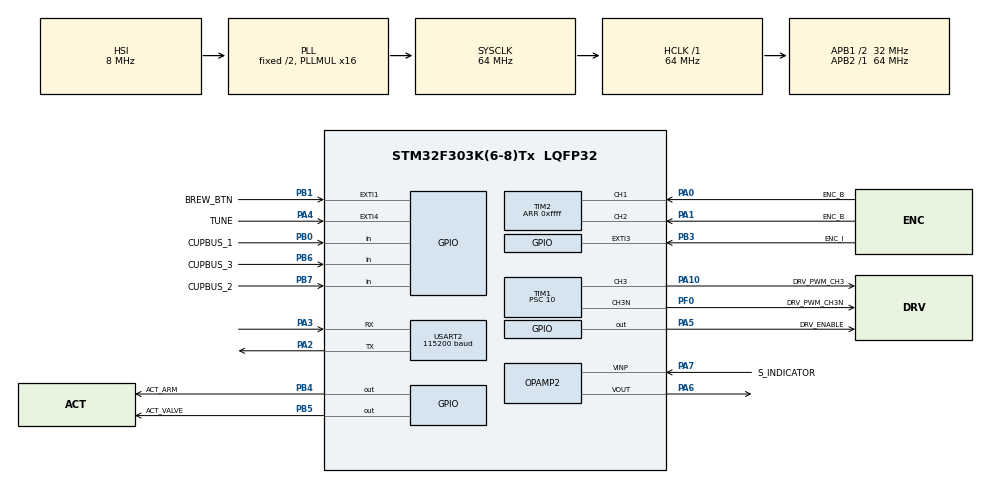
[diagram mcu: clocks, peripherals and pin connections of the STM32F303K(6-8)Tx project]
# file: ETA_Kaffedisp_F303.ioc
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ADC2.Channel-25\#ChannelRegularConversion=ADC_CHANNEL_3
ADC2.NbrOfConversionFlag=1
ADC2.Offset-25\#ChannelRegularConversion=0
ADC2.OffsetNumber-25\#ChannelRegularConversion=ADC_OFFSET_NONE
ADC2.Rank-25\#ChannelRegularConversion=1
ADC2.SamplingTime-25\#ChannelRegularConversion=ADC_SAMPLETIME_1CYCLE_5
ADC2.SubFamily=STM32F303x8
Dma.Request0=USART2_TX
Dma.Request1=USART2_RX
Dma.USART2_RX.1.Direction=DMA_PERIPH_TO_MEMORY
Dma.USART2_RX.1.Instance=DMA1_Channel6
Dma.USART2_RX.1.MemDataAlignment=DMA_MDATAALIGN_BYTE
Dma.USART2_RX.1.MemInc=DMA_MINC_ENABLE
Dma.USART2_RX.1.Mode=DMA_NORMAL
Dma.USART2_RX.1.PeriphDataAlignment=DMA_PDATAALIGN_BYTE
Dma.USART2_RX.1.PeriphInc=DMA_PINC_DISABLE
Dma.USART2_RX.1.Priority=DMA_PRIORITY_LOW
Dma.USART2_TX.0.Direction=DMA_MEMORY_TO_PERIPH
Dma.USART2_TX.0.Instance=DMA1_Channel7
Dma.USART2_TX.0.MemDataAlignment=DMA_MDATAALIGN_BYTE
Dma.USART2_TX.0.MemInc=DMA_MINC_ENABLE
Dma.USART2_TX.0.Mode=DMA_NORMAL
Dma.USART2_TX.0.PeriphDataAlignment=DMA_PDATAALIGN_BYTE
Dma.USART2_TX.0.PeriphInc=DMA_PINC_DISABLE
Dma.USART2_TX.0.Priority=DMA_PRIORITY_LOW
IWDG.Prescaler=IWDG_PRESCALER_128
Mcu.Family=STM32F3
Mcu.Name=STM32F303K(6-8)Tx
Mcu.Package=LQFP32
NVIC.DMA1_Channel6_IRQn=true\:0\:0\:false\:false\:true\:false
NVIC.DMA1_Channel7_IRQn=true\:0\:0\:false\:false\:true\:false
NVIC.EXTI1_IRQn=true\:2\:0\:true\:false\:true\:true
NVIC.EXTI3_IRQn=true\:0\:0\:false\:false\:true\:true
NVIC.EXTI4_IRQn=true\:2\:0\:true\:false\:true\:true
NVIC.PriorityGroup=NVIC_PRIORITYGROUP_4
NVIC.TIM1_TRG_COM_TIM17_IRQn=true\:0\:0\:true\:false\:true\:true
NVIC.TIM2_IRQn=true\:0\:0\:false\:false\:true\:true
NVIC.TIM7_DAC2_IRQn=true\:0\:0\:false\:false\:true\:true
NVIC.USART2_IRQn=true\:0\:0\:false\:false\:true\:true
PA0.GPIO_Label=ENC_B
PA0.GPIO_ModeDefaultPP=GPIO_MODE_AF_PP
PA0.GPIO_PuPd=GPIO_NOPULL
PA0.GPIO_Speed=GPIO_SPEED_FREQ_LOW
PA0.Signal=S_TIM2_CH1_ETR
PA1.GPIO_Label=ENC_B
PA1.GPIO_ModeDefaultPP=GPIO_MODE_AF_PP
PA1.GPIO_PuPd=GPIO_NOPULL
PA1.GPIO_Speed=GPIO_SPEED_FREQ_LOW
PA1.Signal=S_TIM2_CH2
PA10.GPIO_Label=DRV_PWM_CH3
PA10.GPIO_ModeDefaultPP=GPIO_MODE_AF_PP
PA10.GPIO_PuPd=GPIO_NOPULL
PA10.GPIO_Speed=GPIO_SPEED_FREQ_LOW
PA10.Signal=S_TIM1_CH3
PA13.Mode=Serial_Wire
PA13.Signal=SYS_JTMS-SWDIO
PA14.Mode=Serial_Wire
PA14.Signal=SYS_JTCK-SWCLK
PA2.GPIO_ModeDefaultPP=GPIO_MODE_AF_PP
PA2.GPIO_PuPd=GPIO_NOPULL
PA2.GPIO_Speed=GPIO_SPEED_FREQ_HIGH
PA2.Mode=Asynchronous
PA2.Signal=USART2_TX
PA3.GPIO_ModeDefaultPP=GPIO_MODE_AF_PP
PA3.GPIO_PuPd=GPIO_NOPULL
PA3.GPIO_Speed=GPIO_SPEED_FREQ_HIGH
PA3.Mode=Asynchronous
PA3.Signal=USART2_RX
PA4.GPIO_Label=TUNE
PA4.GPIO_PuPd=GPIO_PULLUP
PA4.Signal=GPXTI4
PA5.GPIO_Label=DRV_ENABLE
PA5.GPIO_ModeDefaultOutputPP=GPIO_MODE_OUTPUT_PP
PA5.GPIO_PuPd=GPIO_NOPULL
PA5.GPIO_Speed=GPIO_SPEED_FREQ_LOW
PA5.PinState=GPIO_PIN_RESET
PA5.Signal=GPIO_Output
PA6.Mode=Follower
PA6.Signal=OPAMP2_VOUT
PA7.GPIO_Label=S_INDICATOR
PA7.Mode=Follower
PA7.Signal=OPAMP2_VINP
PB0.GPIO_Label=CUPBUS_1
PB0.GPIO_Mode=GPIO_MODE_INPUT
PB0.GPIO_PuPd=GPIO_PULLDOWN
PB0.Signal=GPIO_Input
PB1.GPIO_Label=BREW_BTN
PB1.GPIO_ModeDefaultEXTI=GPIO_MODE_IT_FALLING
PB1.GPIO_PuPd=GPIO_PULLUP
PB1.Signal=GPXTI1
PB3.GPIO_Label=ENC_I
PB3.Signal=GPXTI3
PB4.GPIO_Label=ACT_ARM
PB4.GPIO_ModeDefaultOutputPP=GPIO_MODE_OUTPUT_PP
PB4.GPIO_PuPd=GPIO_NOPULL
PB4.GPIO_Speed=GPIO_SPEED_FREQ_LOW
PB4.PinState=GPIO_PIN_RESET
PB4.Signal=GPIO_Output
PB5.GPIO_Label=ACT_VALVE
PB5.GPIO_PuPd=GPIO_PULLDOWN
PB5.Signal=GPIO_Output
PB6.GPIO_Label=CUPBUS_3
PB6.GPIO_Mode=GPIO_MODE_INPUT
PB6.GPIO_PuPd=GPIO_PULLDOWN
PB6.Signal=GPIO_Input
PB7.GPIO_Label=CUPBUS_2
PB7.GPIO_Mode=GPIO_MODE_INPUT
PB7.GPIO_PuPd=GPIO_PULLDOWN
PB7.Signal=GPIO_Input
PF0\ /\ OSC_IN.GPIO_Label=DRV_PWM_CH3N
PF0\ /\ OSC_IN.GPIO_ModeDefaultPP=GPIO_MODE_AF_PP
PF0\ /\ OSC_IN.GPIO_PuPd=GPIO_NOPULL
PF0\ /\ OSC_IN.GPIO_Speed=GPIO_SPEED_FREQ_LOW
PF0\ /\ OSC_IN.Mode=PWM Generation3 CH3 CH3N
PF0\ /\ OSC_IN.Signal=TIM1_CH3N
ProjectManager.HeapSize=0x200
ProjectManager.StackSize=0x400
ProjectManager.TargetToolchain=TrueSTUDIO
RCC.ADC12PRES=RCC_ADC12PLLCLK_DIV4
RCC.AHBFreq_Value=64000000
RCC.APB1CLKDivider=RCC_HCLK_DIV2
RCC.APB1Freq_Value=32000000
RCC.APB1TimFreq_Value=64000000
RCC.APB2Freq_Value=64000000
RCC.APB2TimFreq_Value=64000000
RCC.CortexFreq_Value=64000000
RCC.HCLKFreq_Value=64000000
RCC.HSE_VALUE=8000000
RCC.HSI_VALUE=8000000
RCC.PLLMUL=RCC_PLL_MUL16
RCC.SYSCLKFreq_VALUE=64000000
RCC.SYSCLKSourceVirtual=RCC_SYSCLKSOURCE_PLLCLK
SH.S_TIM1_CH3.0=TIM1_CH3,PWM Generation3 CH3 CH3N
SH.S_TIM2_CH1_ETR.0=TIM2_CH1,Encoder_Interface
SH.S_TIM2_CH2.0=TIM2_CH2,Encoder_Interface
TIM1.Channel-PWM\ Generation3\ CH3\ CH3N=TIM_CHANNEL_3
TIM1.DeadTime=0
TIM1.OCNPolarity_3=TIM_OCNPOLARITY_HIGH
TIM1.OCPolarity_3=TIM_OCPOLARITY_HIGH
TIM1.Period=0xff
TIM1.Prescaler=10
TIM1.Pulse-PWM\ Generation3\ CH3\ CH3N=0x7f
TIM17.Channel=TIM_CHANNEL_1
TIM17.ClockDivision=TIM_CLOCKDIVISION_DIV2
TIM17.Period=5000
TIM17.Prescaler=42000
TIM2.CounterMode=TIM_COUNTERMODE_UP
TIM2.EncoderMode=TIM_ENCODERMODE_TI12
TIM2.IC1Filter=4
TIM2.IC1Polarity=TIM_ICPOLARITY_RISING
TIM2.IC2Filter=4
TIM2.IC2Polarity=TIM_ICPOLARITY_FALLING
TIM2.Period=0xffff
TIM7.Period=35999
TIM7.Prescaler=1
USART2.BaudRate=115200
USART2.DataInvertParam=UART_ADVFEATURE_DATAINV_DISABLE
USART2.RxPinLevelInvertParam=UART_ADVFEATURE_RXINV_ENABLE
USART2.TxPinLevelInvertParam=UART_ADVFEATURE_TXINV_ENABLE
USART2.VirtualMode-Asynchronous=VM_ASYNC
VP_ADC2_OPAMP_OUT2.Mode=IN3-OPAMP2-Single-Ended
VP_IWDG_VS_IWDG.Mode=IWDG_Activate
VP_TIM17_VS_ClockSourceINT.Mode=Enable_Timer
VP_TIM17_VS_OPM.Mode=OPM_bit
VP_TIM17_VS_no_output1.Mode=Output Compare1 No Output
VP_TIM1_VS_ClockSourceINT.Mode=Internal
VP_TIM7_VS_ClockSourceINT.Mode=Enable_Timer
board=NUCLEO-F303K8

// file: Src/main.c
/* USER CODE BEGIN Header */
/**
  ******************************************************************************
  * @file           : main.c
  * @brief          : Main program body
  ******************************************************************************
  ** This notice applies to any and all portions of this file
  * that are not between comment pairs USER CODE BEGIN and
  * USER CODE END. Other portions of this file, whether
  * inserted by the user or by software development tools
  * are owned by their respective copyright owners.
  *
  * COPYRIGHT(c) 2019 STMicroelectronics
  *
  * Redistribution and use in source and binary forms, with or without modification,
  * are permitted provided that the following conditions are met:
  *   1. Redistributions of source code must retain the above copyright notice,
  *      this list of conditions and the following disclaimer.
  *   2. Redistributions in binary form must reproduce the above copyright notice,
  *      this list of conditions and the following disclaimer in the documentation
  *      and/or other materials provided with the distribution.
  *   3. Neither the name of STMicroelectronics nor the names of its contributors
  *      may be used to endorse or promote products derived from this software
  *      without specific prior written permission.
  *
  * THIS SOFTWARE IS PROVIDED BY THE COPYRIGHT HOLDERS AND CONTRIBUTORS "AS IS"
  * AND ANY EXPRESS OR IMPLIED WARRANTIES, INCLUDING, BUT NOT LIMITED TO, THE
  * IMPLIED WARRANTIES OF MERCHANTABILITY AND FITNESS FOR A PARTICULAR PURPOSE ARE
  * DISCLAIMED. IN NO EVENT SHALL THE COPYRIGHT HOLDER OR CONTRIBUTORS BE LIABLE
  * FOR ANY DIRECT, INDIRECT, INCIDENTAL, SPECIAL, EXEMPLARY, OR CONSEQUENTIAL
  * DAMAGES (INCLUDING, BUT NOT LIMITED TO, PROCUREMENT OF SUBSTITUTE GOODS OR
  * SERVICES; LOSS OF USE, DATA, OR PROFITS; OR BUSINESS INTERRUPTION) HOWEVER
  * CAUSED AND ON ANY THEORY OF LIABILITY, WHETHER IN CONTRACT, STRICT LIABILITY,
  * OR TORT (INCLUDING NEGLIGENCE OR OTHERWISE) ARISING IN ANY WAY OUT OF THE USE
  * OF THIS SOFTWARE, EVEN IF ADVISED OF THE POSSIBILITY OF SUCH DAMAGE.
  *
  ******************************************************************************
  */
/* USER CODE END Header */

#include "main.h"

/* USER CODE BEGIN Includes */

/* Serial driver control and feedback*/
//#define SERIAL_IO
/*Watchdog enable */
#define IWDG_ENABLE

#include "disp_driver.h"
#include "valve_driver.h"
#include "encoder.h"
#include "panel_io.h"
#ifdef SERIAL_IO
#include "serial_io.h"
#endif

/* USER CODE END Includes */

ADC_HandleTypeDef hadc2;

IWDG_HandleTypeDef hiwdg;

OPAMP_HandleTypeDef hopamp2;

TIM_HandleTypeDef htim1;
TIM_HandleTypeDef htim2;
TIM_HandleTypeDef htim7;
TIM_HandleTypeDef htim17;

UART_HandleTypeDef huart2;
DMA_HandleTypeDef hdma_usart2_tx;
DMA_HandleTypeDef hdma_usart2_rx;

/* USER CODE BEGIN PV */
/* Private variables ---------------------------------------------------------*/

ENC_HandleTypeDef hencoder1;
DRIVER_HandleTypeDef hdriver1;
VALVE_HandleTypeDef hvalve1;
PANEL_HandleTypeDef hpanel1;

#ifdef SERIAL_IO
SIO_HandleTypeDef hsio1;
#endif

/* USER CODE END PV */

void SystemClock_Config(void);
static void MX_GPIO_Init(void);
static void MX_DMA_Init(void);
static void MX_USART2_UART_Init(void);
static void MX_TIM2_Init(void);
static void MX_OPAMP2_Init(void);
static void MX_ADC2_Init(void);
static void MX_TIM1_Init(void);
static void MX_TIM7_Init(void);
static void MX_IWDG_Init(void);
static void MX_TIM17_Init(void);
/* USER CODE BEGIN PFP */
/* Private function prototypes -----------------------------------------------*/
static void MX_ENCODER_Init(void);
static void MX_DRIVER_Init(void);
static void MX_VALVE_Init(void);
static void MX_PANEL_Init(void);
#ifdef SERIAL_IO
static void MX_SIO_Init(void);
#endif
/* USER CODE END PFP */

int main(void)
{

  /* MCU Configuration--------------------------------------------------------*/

  /* Reset of all peripherals, Initializes the Flash interface and the Systick. */
  HAL_Init();

  /* Configure the system clock */
  SystemClock_Config();

  /* Initialize all configured peripherals */
  MX_GPIO_Init();
  MX_DMA_Init();
  MX_USART2_UART_Init();
  MX_TIM2_Init();
  MX_OPAMP2_Init();
  MX_ADC2_Init();
  MX_TIM1_Init();
  MX_TIM7_Init();
  MX_IWDG_Init();
  MX_TIM17_Init();
  /* USER CODE BEGIN 2 */
  MX_DRIVER_Init();
  MX_VALVE_Init();
  MX_ENCODER_Init();
  MX_PANEL_Init();

  #ifdef SERIAL_IO
  MX_SIO_Init();
  #endif

  /* USER CODE END 2 */

  /* Infinite loop */
  /* USER CODE BEGIN WHILE */
  while (1)
  {
#ifdef IWDG_ENABLE
	  if(!HAL_GPIO_ReadPin(DRV_ENABLE_GPIO_Port, DRV_ENABLE_Pin)){
		  HAL_IWDG_Refresh(&hiwdg);
	  }
#endif

    /* USER CODE END WHILE */

  }
}

void SystemClock_Config(void)
{
  RCC_OscInitTypeDef RCC_OscInitStruct = {0};
  RCC_ClkInitTypeDef RCC_ClkInitStruct = {0};
  RCC_PeriphCLKInitTypeDef PeriphClkInit = {0};

  /**Initializes the CPU, AHB and APB busses clocks
  */
  RCC_OscInitStruct.OscillatorType = RCC_OSCILLATORTYPE_HSI|RCC_OSCILLATORTYPE_LSI;
  RCC_OscInitStruct.HSIState = RCC_HSI_ON;
  RCC_OscInitStruct.HSICalibrationValue = RCC_HSICALIBRATION_DEFAULT;
  RCC_OscInitStruct.LSIState = RCC_LSI_ON;
  RCC_OscInitStruct.PLL.PLLState = RCC_PLL_ON;
  RCC_OscInitStruct.PLL.PLLSource = RCC_PLLSOURCE_HSI;
  RCC_OscInitStruct.PLL.PLLMUL = RCC_PLL_MUL16;
  if (HAL_RCC_OscConfig(&RCC_OscInitStruct) != HAL_OK)
  {
    Error_Handler();
  }
  /**Initializes the CPU, AHB and APB busses clocks
  */
  RCC_ClkInitStruct.ClockType = RCC_CLOCKTYPE_HCLK|RCC_CLOCKTYPE_SYSCLK
                              |RCC_CLOCKTYPE_PCLK1|RCC_CLOCKTYPE_PCLK2;
  RCC_ClkInitStruct.SYSCLKSource = RCC_SYSCLKSOURCE_PLLCLK;
  RCC_ClkInitStruct.AHBCLKDivider = RCC_SYSCLK_DIV1;
  RCC_ClkInitStruct.APB1CLKDivider = RCC_HCLK_DIV2;
  RCC_ClkInitStruct.APB2CLKDivider = RCC_HCLK_DIV1;

  if (HAL_RCC_ClockConfig(&RCC_ClkInitStruct, FLASH_LATENCY_2) != HAL_OK)
  {
    Error_Handler();
  }
  PeriphClkInit.PeriphClockSelection = RCC_PERIPHCLK_TIM1|RCC_PERIPHCLK_ADC12;
  PeriphClkInit.Adc12ClockSelection = RCC_ADC12PLLCLK_DIV4;
  PeriphClkInit.Tim1ClockSelection = RCC_TIM1CLK_HCLK;
  if (HAL_RCCEx_PeriphCLKConfig(&PeriphClkInit) != HAL_OK)
  {
    Error_Handler();
  }
}

static void MX_ADC2_Init(void)
{

  ADC_ChannelConfTypeDef sConfig = {0};

  /**Common config
  */
  hadc2.Instance = ADC2;
  hadc2.Init.ClockPrescaler = ADC_CLOCK_ASYNC_DIV1;
  hadc2.Init.Resolution = ADC_RESOLUTION_12B;
  hadc2.Init.ScanConvMode = ADC_SCAN_DISABLE;
  hadc2.Init.ContinuousConvMode = DISABLE;
  hadc2.Init.DiscontinuousConvMode = DISABLE;
  hadc2.Init.ExternalTrigConvEdge = ADC_EXTERNALTRIGCONVEDGE_NONE;
  hadc2.Init.ExternalTrigConv = ADC_SOFTWARE_START;
  hadc2.Init.DataAlign = ADC_DATAALIGN_RIGHT;
  hadc2.Init.NbrOfConversion = 1;
  hadc2.Init.DMAContinuousRequests = DISABLE;
  hadc2.Init.EOCSelection = ADC_EOC_SINGLE_CONV;
  hadc2.Init.LowPowerAutoWait = DISABLE;
  hadc2.Init.Overrun = ADC_OVR_DATA_OVERWRITTEN;
  if (HAL_ADC_Init(&hadc2) != HAL_OK)
  {
    Error_Handler();
  }
  /**Configure Regular Channel
  */
  sConfig.Channel = ADC_CHANNEL_3;
  sConfig.Rank = ADC_REGULAR_RANK_1;
  sConfig.SingleDiff = ADC_SINGLE_ENDED;
  sConfig.SamplingTime = ADC_SAMPLETIME_1CYCLE_5;
  sConfig.OffsetNumber = ADC_OFFSET_NONE;
  sConfig.Offset = 0;
  if (HAL_ADC_ConfigChannel(&hadc2, &sConfig) != HAL_OK)
  {
    Error_Handler();
  }

}

static void MX_IWDG_Init(void)
{

  /* USER CODE BEGIN IWDG_Init 0 */
#ifndef IWDG_ENABLE
	return;
#endif

  /* USER CODE END IWDG_Init 0 */

  hiwdg.Instance = IWDG;
  hiwdg.Init.Prescaler = IWDG_PRESCALER_128;
  hiwdg.Init.Window = 4095;
  hiwdg.Init.Reload = 4095;
  if (HAL_IWDG_Init(&hiwdg) != HAL_OK)
  {
    Error_Handler();
  }

}

static void MX_OPAMP2_Init(void)
{

  hopamp2.Instance = OPAMP2;
  hopamp2.Init.Mode = OPAMP_FOLLOWER_MODE;
  hopamp2.Init.NonInvertingInput = OPAMP_NONINVERTINGINPUT_IO0;
  hopamp2.Init.TimerControlledMuxmode = OPAMP_TIMERCONTROLLEDMUXMODE_DISABLE;
  hopamp2.Init.UserTrimming = OPAMP_TRIMMING_FACTORY;
  if (HAL_OPAMP_Init(&hopamp2) != HAL_OK)
  {
    Error_Handler();
  }

}

static void MX_TIM1_Init(void)
{

  TIM_ClockConfigTypeDef sClockSourceConfig = {0};
  TIM_MasterConfigTypeDef sMasterConfig = {0};
  TIM_OC_InitTypeDef sConfigOC = {0};
  TIM_BreakDeadTimeConfigTypeDef sBreakDeadTimeConfig = {0};

  htim1.Instance = TIM1;
  htim1.Init.Prescaler = 10;
  htim1.Init.CounterMode = TIM_COUNTERMODE_UP;
  htim1.Init.Period = 0xff;
  htim1.Init.ClockDivision = TIM_CLOCKDIVISION_DIV1;
  htim1.Init.RepetitionCounter = 0;
  htim1.Init.AutoReloadPreload = TIM_AUTORELOAD_PRELOAD_DISABLE;
  if (HAL_TIM_Base_Init(&htim1) != HAL_OK)
  {
    Error_Handler();
  }
  sClockSourceConfig.ClockSource = TIM_CLOCKSOURCE_INTERNAL;
  if (HAL_TIM_ConfigClockSource(&htim1, &sClockSourceConfig) != HAL_OK)
  {
    Error_Handler();
  }
  if (HAL_TIM_PWM_Init(&htim1) != HAL_OK)
  {
    Error_Handler();
  }
  sMasterConfig.MasterOutputTrigger = TIM_TRGO_RESET;
  sMasterConfig.MasterOutputTrigger2 = TIM_TRGO2_RESET;
  sMasterConfig.MasterSlaveMode = TIM_MASTERSLAVEMODE_DISABLE;
  if (HAL_TIMEx_MasterConfigSynchronization(&htim1, &sMasterConfig) != HAL_OK)
  {
    Error_Handler();
  }
  sConfigOC.OCMode = TIM_OCMODE_PWM1;
  sConfigOC.Pulse = 0x7f;
  sConfigOC.OCPolarity = TIM_OCPOLARITY_HIGH;
  sConfigOC.OCNPolarity = TIM_OCNPOLARITY_HIGH;
  sConfigOC.OCFastMode = TIM_OCFAST_DISABLE;
  sConfigOC.OCIdleState = TIM_OCIDLESTATE_RESET;
  sConfigOC.OCNIdleState = TIM_OCNIDLESTATE_RESET;
  if (HAL_TIM_PWM_ConfigChannel(&htim1, &sConfigOC, TIM_CHANNEL_3) != HAL_OK)
  {
    Error_Handler();
  }
  sBreakDeadTimeConfig.OffStateRunMode = TIM_OSSR_DISABLE;
  sBreakDeadTimeConfig.OffStateIDLEMode = TIM_OSSI_DISABLE;
  sBreakDeadTimeConfig.LockLevel = TIM_LOCKLEVEL_OFF;
  sBreakDeadTimeConfig.DeadTime = 0;
  sBreakDeadTimeConfig.BreakState = TIM_BREAK_DISABLE;
  sBreakDeadTimeConfig.BreakPolarity = TIM_BREAKPOLARITY_HIGH;
  sBreakDeadTimeConfig.BreakFilter = 0;
  sBreakDeadTimeConfig.Break2State = TIM_BREAK2_DISABLE;
  sBreakDeadTimeConfig.Break2Polarity = TIM_BREAK2POLARITY_HIGH;
  sBreakDeadTimeConfig.Break2Filter = 0;
  sBreakDeadTimeConfig.AutomaticOutput = TIM_AUTOMATICOUTPUT_DISABLE;
  if (HAL_TIMEx_ConfigBreakDeadTime(&htim1, &sBreakDeadTimeConfig) != HAL_OK)
  {
    Error_Handler();
  }
  HAL_TIM_MspPostInit(&htim1);

}

static void MX_TIM2_Init(void)
{

  TIM_Encoder_InitTypeDef sConfig = {0};
  TIM_MasterConfigTypeDef sMasterConfig = {0};

  htim2.Instance = TIM2;
  htim2.Init.Prescaler = 0;
  htim2.Init.CounterMode = TIM_COUNTERMODE_UP;
  htim2.Init.Period = 0xffff;
  htim2.Init.ClockDivision = TIM_CLOCKDIVISION_DIV1;
  htim2.Init.AutoReloadPreload = TIM_AUTORELOAD_PRELOAD_DISABLE;
  sConfig.EncoderMode = TIM_ENCODERMODE_TI12;
  sConfig.IC1Polarity = TIM_ICPOLARITY_RISING;
  sConfig.IC1Selection = TIM_ICSELECTION_DIRECTTI;
  sConfig.IC1Prescaler = TIM_ICPSC_DIV1;
  sConfig.IC1Filter = 4;
  sConfig.IC2Polarity = TIM_ICPOLARITY_FALLING;
  sConfig.IC2Selection = TIM_ICSELECTION_DIRECTTI;
  sConfig.IC2Prescaler = TIM_ICPSC_DIV1;
  sConfig.IC2Filter = 4;
  if (HAL_TIM_Encoder_Init(&htim2, &sConfig) != HAL_OK)
  {
    Error_Handler();
  }
  sMasterConfig.MasterOutputTrigger = TIM_TRGO_RESET;
  sMasterConfig.MasterSlaveMode = TIM_MASTERSLAVEMODE_DISABLE;
  if (HAL_TIMEx_MasterConfigSynchronization(&htim2, &sMasterConfig) != HAL_OK)
  {
    Error_Handler();
  }

}

static void MX_TIM7_Init(void)
{

  TIM_MasterConfigTypeDef sMasterConfig = {0};

  htim7.Instance = TIM7;
  htim7.Init.Prescaler = 1;
  htim7.Init.CounterMode = TIM_COUNTERMODE_UP;
  htim7.Init.Period = 35999;
  htim7.Init.AutoReloadPreload = TIM_AUTORELOAD_PRELOAD_DISABLE;
  if (HAL_TIM_Base_Init(&htim7) != HAL_OK)
  {
    Error_Handler();
  }
  sMasterConfig.MasterOutputTrigger = TIM_TRGO_RESET;
  sMasterConfig.MasterSlaveMode = TIM_MASTERSLAVEMODE_DISABLE;
  if (HAL_TIMEx_MasterConfigSynchronization(&htim7, &sMasterConfig) != HAL_OK)
  {
    Error_Handler();
  }

}

static void MX_TIM17_Init(void)
{

  TIM_OC_InitTypeDef sConfigOC = {0};
  TIM_BreakDeadTimeConfigTypeDef sBreakDeadTimeConfig = {0};

  htim17.Instance = TIM17;
  htim17.Init.Prescaler = 42000;
  htim17.Init.CounterMode = TIM_COUNTERMODE_UP;
  htim17.Init.Period = 5000;
  htim17.Init.ClockDivision = TIM_CLOCKDIVISION_DIV2;
  htim17.Init.RepetitionCounter = 0;
  htim17.Init.AutoReloadPreload = TIM_AUTORELOAD_PRELOAD_DISABLE;
  if (HAL_TIM_Base_Init(&htim17) != HAL_OK)
  {
    Error_Handler();
  }
  if (HAL_TIM_OC_Init(&htim17) != HAL_OK)
  {
    Error_Handler();
  }
  if (HAL_TIM_OnePulse_Init(&htim17, TIM_OPMODE_SINGLE) != HAL_OK)
  {
    Error_Handler();
  }
  sConfigOC.OCMode = TIM_OCMODE_TIMING;
  sConfigOC.Pulse = 0;
  sConfigOC.OCPolarity = TIM_OCPOLARITY_HIGH;
  sConfigOC.OCNPolarity = TIM_OCNPOLARITY_HIGH;
  sConfigOC.OCFastMode = TIM_OCFAST_DISABLE;
  sConfigOC.OCIdleState = TIM_OCIDLESTATE_RESET;
  sConfigOC.OCNIdleState = TIM_OCNIDLESTATE_RESET;
  if (HAL_TIM_OC_ConfigChannel(&htim17, &sConfigOC, TIM_CHANNEL_1) != HAL_OK)
  {
    Error_Handler();
  }
  sBreakDeadTimeConfig.OffStateRunMode = TIM_OSSR_DISABLE;
  sBreakDeadTimeConfig.OffStateIDLEMode = TIM_OSSI_DISABLE;
  sBreakDeadTimeConfig.LockLevel = TIM_LOCKLEVEL_OFF;
  sBreakDeadTimeConfig.DeadTime = 0;
  sBreakDeadTimeConfig.BreakState = TIM_BREAK_DISABLE;
  sBreakDeadTimeConfig.BreakPolarity = TIM_BREAKPOLARITY_HIGH;
  sBreakDeadTimeConfig.BreakFilter = 0;
  sBreakDeadTimeConfig.AutomaticOutput = TIM_AUTOMATICOUTPUT_DISABLE;
  if (HAL_TIMEx_ConfigBreakDeadTime(&htim17, &sBreakDeadTimeConfig) != HAL_OK)
  {
    Error_Handler();
  }

}

static void MX_USART2_UART_Init(void)
{

  huart2.Instance = USART2;
  huart2.Init.BaudRate = 115200;
  huart2.Init.WordLength = UART_WORDLENGTH_8B;
  huart2.Init.StopBits = UART_STOPBITS_1;
  huart2.Init.Parity = UART_PARITY_NONE;
  huart2.Init.Mode = UART_MODE_TX_RX;
  huart2.Init.HwFlowCtl = UART_HWCONTROL_NONE;
  huart2.Init.OverSampling = UART_OVERSAMPLING_16;
  huart2.Init.OneBitSampling = UART_ONE_BIT_SAMPLE_DISABLE;
  huart2.AdvancedInit.AdvFeatureInit = UART_ADVFEATURE_TXINVERT_INIT|UART_ADVFEATURE_RXINVERT_INIT;
  huart2.AdvancedInit.TxPinLevelInvert = UART_ADVFEATURE_TXINV_ENABLE;
  huart2.AdvancedInit.RxPinLevelInvert = UART_ADVFEATURE_RXINV_ENABLE;
  if (HAL_UART_Init(&huart2) != HAL_OK)
  {
    Error_Handler();
  }

}

static void MX_DMA_Init(void)
{
  /* DMA controller clock enable */
  __HAL_RCC_DMA1_CLK_ENABLE();

  /* DMA interrupt init */
  /* DMA1_Channel6_IRQn interrupt configuration */
  HAL_NVIC_SetPriority(DMA1_Channel6_IRQn, 0, 0);
  HAL_NVIC_EnableIRQ(DMA1_Channel6_IRQn);
  /* DMA1_Channel7_IRQn interrupt configuration */
  HAL_NVIC_SetPriority(DMA1_Channel7_IRQn, 0, 0);
  HAL_NVIC_EnableIRQ(DMA1_Channel7_IRQn);

}

static void MX_GPIO_Init(void)
{
  GPIO_InitTypeDef GPIO_InitStruct = {0};

  /* GPIO Ports Clock Enable */
  __HAL_RCC_GPIOF_CLK_ENABLE();
  __HAL_RCC_GPIOA_CLK_ENABLE();
  __HAL_RCC_GPIOB_CLK_ENABLE();

  /*Configure GPIO pin Output Level */
  HAL_GPIO_WritePin(DRV_ENABLE_GPIO_Port, DRV_ENABLE_Pin, GPIO_PIN_RESET);

  /*Configure GPIO pin Output Level */
  HAL_GPIO_WritePin(GPIOB, ACT_ARM_Pin|ACT_VALVE_Pin, GPIO_PIN_RESET);

  /*Configure GPIO pin : TUNE_Pin */
  GPIO_InitStruct.Pin = TUNE_Pin;
  GPIO_InitStruct.Mode = GPIO_MODE_IT_RISING;
  GPIO_InitStruct.Pull = GPIO_PULLUP;
  HAL_GPIO_Init(TUNE_GPIO_Port, &GPIO_InitStruct);

  /*Configure GPIO pin : DRV_ENABLE_Pin */
  GPIO_InitStruct.Pin = DRV_ENABLE_Pin;
  GPIO_InitStruct.Mode = GPIO_MODE_OUTPUT_PP;
  GPIO_InitStruct.Pull = GPIO_NOPULL;
  GPIO_InitStruct.Speed = GPIO_SPEED_FREQ_LOW;
  HAL_GPIO_Init(DRV_ENABLE_GPIO_Port, &GPIO_InitStruct);

  /*Configure GPIO pins : CUPBUS_1_Pin CUPBUS_3_Pin CUPBUS_2_Pin */
  GPIO_InitStruct.Pin = CUPBUS_1_Pin|CUPBUS_3_Pin|CUPBUS_2_Pin;
  GPIO_InitStruct.Mode = GPIO_MODE_INPUT;
  GPIO_InitStruct.Pull = GPIO_PULLDOWN;
  HAL_GPIO_Init(GPIOB, &GPIO_InitStruct);

  /*Configure GPIO pin : BREW_BTN_Pin */
  GPIO_InitStruct.Pin = BREW_BTN_Pin;
  GPIO_InitStruct.Mode = GPIO_MODE_IT_FALLING;
  GPIO_InitStruct.Pull = GPIO_PULLUP;
  HAL_GPIO_Init(BREW_BTN_GPIO_Port, &GPIO_InitStruct);

  /*Configure GPIO pin : ENC_I_Pin */
  GPIO_InitStruct.Pin = ENC_I_Pin;
  GPIO_InitStruct.Mode = GPIO_MODE_IT_RISING;
  GPIO_InitStruct.Pull = GPIO_NOPULL;
  HAL_GPIO_Init(ENC_I_GPIO_Port, &GPIO_InitStruct);

  /*Configure GPIO pin : ACT_ARM_Pin */
  GPIO_InitStruct.Pin = ACT_ARM_Pin;
  GPIO_InitStruct.Mode = GPIO_MODE_OUTPUT_PP;
  GPIO_InitStruct.Pull = GPIO_NOPULL;
  GPIO_InitStruct.Speed = GPIO_SPEED_FREQ_LOW;
  HAL_GPIO_Init(ACT_ARM_GPIO_Port, &GPIO_InitStruct);

  /*Configure GPIO pin : ACT_VALVE_Pin */
  GPIO_InitStruct.Pin = ACT_VALVE_Pin;
  GPIO_InitStruct.Mode = GPIO_MODE_OUTPUT_PP;
  GPIO_InitStruct.Pull = GPIO_PULLDOWN;
  GPIO_InitStruct.Speed = GPIO_SPEED_FREQ_LOW;
  HAL_GPIO_Init(ACT_VALVE_GPIO_Port, &GPIO_InitStruct);

  /* EXTI interrupt init*/
  HAL_NVIC_SetPriority(EXTI1_IRQn, 0, 0);
  HAL_NVIC_EnableIRQ(EXTI1_IRQn);

  HAL_NVIC_SetPriority(EXTI3_IRQn, 0, 0);
  HAL_NVIC_EnableIRQ(EXTI3_IRQn);

  HAL_NVIC_SetPriority(EXTI4_IRQn, 0, 0);
  HAL_NVIC_EnableIRQ(EXTI4_IRQn);

}

/* USER CODE BEGIN 4 */

static void MX_ENCODER_Init(void)
{
	hencoder1.Instance = &htim2;
	hencoder1.True_index_offset = 94;
	if(HAL_ENC_Init(&hencoder1) != HAL_OK) {
		//hdriver1.State = HAL_DRIVER_STATE_ERROR;
	}

}

static void MX_DRIVER_Init(void){
	hdriver1.htim_pwm = &htim1;
	hdriver1.pwm_ch = TIM_CHANNEL_3;
	hdriver1.htim_pid = &htim7;
	hdriver1.encoder = &hencoder1;
	hdriver1.pid_inner.Kp = 0.1;
	hdriver1.pid_inner.Ki = 0.001;
	hdriver1.pid_outer.Kp = 0.08;
	hdriver1.drv_enable_port = DRV_ENABLE_GPIO_Port;
	hdriver1.drv_enable_pin = DRV_ENABLE_Pin;
	//hdriver1.pid.Ki = 1;

	if(HAL_DRIVER_Init(&hdriver1) != HAL_OK) {
		Error_Handler();
	}

}

static void MX_VALVE_Init(void){

	hvalve1.htim_valve = &htim17;
	hvalve1.act_valve_port = ACT_VALVE_GPIO_Port;
	hvalve1.act_valve_pin = ACT_VALVE_Pin;

	if(HAL_VALVE_Init(&hvalve1) != HAL_OK) {
		Error_Handler();
	}

}

static void MX_PANEL_Init(void)
{
	hpanel1.hdriver = &hdriver1;
	hpanel1.hvalve = &hvalve1;
	hpanel1.cupbus1.port = CUPBUS_1_GPIO_Port;
	hpanel1.cupbus1.pin = CUPBUS_1_Pin;
	hpanel1.cupbus2.port = CUPBUS_2_GPIO_Port;
	hpanel1.cupbus2.pin = CUPBUS_2_Pin;
	hpanel1.cupbus3.port = CUPBUS_3_GPIO_Port;
	hpanel1.cupbus3.pin = CUPBUS_3_Pin;
	hpanel1.brew_btn.port = BREW_BTN_GPIO_Port;
	hpanel1.brew_btn.pin = BREW_BTN_Pin;
	HAL_PANEL_Init(&hpanel1);

}

#ifdef SERIAL_IO
static void MX_SIO_Init(void){
	hsio1.huart = &huart2;
	hsio1.hdriver = &hdriver1;
	hsio1.RX_data.sync_package = 2;
	hsio1.TX_data.sync_package = 2;
	HAL_SIO_Init(&hsio1);
}
#endif

/* USER CODE END 4 */

void Error_Handler(void)
{
  while(1)
  {
  }
}

/************************ (C) COPYRIGHT STMicroelectronics *****END OF FILE****/
